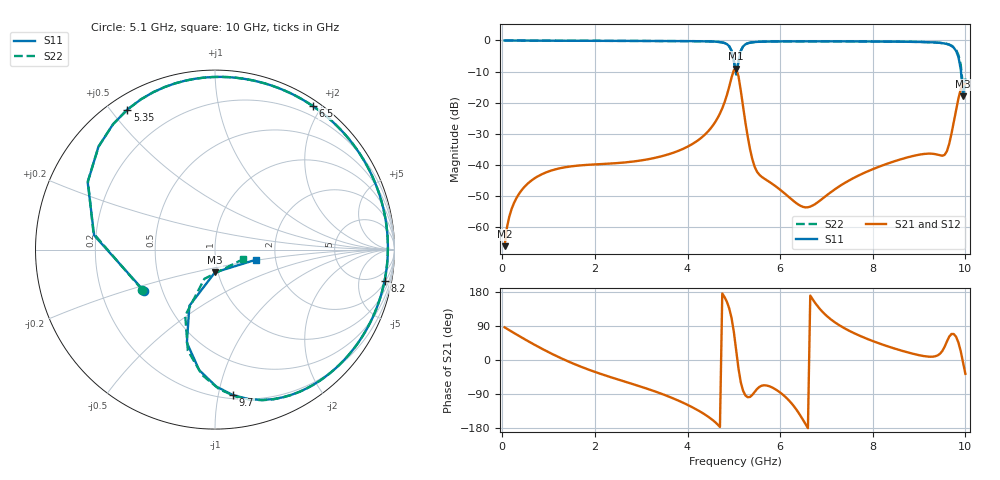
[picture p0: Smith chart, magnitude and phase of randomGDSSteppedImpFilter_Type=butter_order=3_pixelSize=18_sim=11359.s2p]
! freq	dB(S11)	phase(S11)	dB(S12)	phase(S12)
!  dB(S21)	phase(S21)	dB(S22)	phase(S22)
!S-par simulation data
#  GHz  S  DB  R 50
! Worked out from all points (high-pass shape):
!   200 points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, 50 MHz to 10 GHz, reference 50 ohm
!   highest |S21| = -9.05 dB at 5.05 GHz (marker M1); lowest = -66.2 dB at 50 MHz (marker M2)
!   |S21| within 3 dB of the highest: 4.949 GHz to 5.106 GHz (157 MHz wide, 3.12 % of centre)
!   lowest |S11| = -17.9 dB at 9.95 GHz (marker M3), VSWR 1.29, Z = 48.4 - j12.5 ohm
!   |S11| at or under -10 dB: 5.039527 GHz to 5.061064 GHz (21.54 MHz wide, 0.426 % of centre); 9.904 GHz to end of sweep
!   |S22| runs from -15.6 to 0.0 dB; largest |S21 - S12| = 0
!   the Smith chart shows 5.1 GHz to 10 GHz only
!   S11 on the Smith chart (normalised r, x): 5.1 GHz: 0.40, -0.23; 5.35 GHz: 0.05, +0.55; 6.5 GHz: 0.07, +1.89; 8.2 GHz: 2, -10; 9.7 GHz: 0.23, -1.11; 10 GHz: 1.57, -0.19
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0.05  -0.00 -3.7  -66.23 86.2  -66.23 86.2  -0.00 -3.7
0.2  -0.02 -14.7  -54.31 75.1  -54.31 75.1  -0.02 -14.7
0.5  -0.05 -36.3  -46.80 53.7  -46.80 53.7  -0.05 -36.4
1.75  -0.12 -115.1  -40.14 -20.2  -40.14 -20.2  -0.12 -115.1
3.4  -0.18 166.0  -37.44 -87.4  -37.44 -87.4  -0.18 166.0
4.25  -0.24 126.4  -31.89 -134.5  -31.89 -134.5  -0.24 126.4
4.75  -0.64 89.7  -21.85 175.4  -21.85 175.4  -0.65 89.6
4.95  -3.29 39.8  -11.98 111.1  -11.98 111.1  -3.34 39.3
5.05  -10.91 -69.2  -9.05 26.2  -9.05 26.2  -10.94 -72.4
5.1  -6.80 -149.5  -11.50 -22.3  -11.50 -22.3  -6.68 -151.2
5.2  -1.91 152.2  -21.42 -81.4  -21.42 -81.4  -1.89 151.7
5.35  -0.72 122.0  -35.03 -97.4  -35.03 -97.4  -0.71 121.9
5.55  -0.42 103.4  -43.22 -71.1  -43.22 -71.1  -0.42 103.4
6.5  -0.28 55.8  -53.61 -159.2  -53.61 -159.2  -0.28 55.8
6.7  -0.28 47.5  -53.14 160.6  -53.14 160.6  -0.28 47.4
8.2  -0.35 -10.4  -40.29 41.1  -40.29 41.1  -0.35 -10.4
8.35  -0.36 -16.0  -39.49 34.9  -39.49 34.9  -0.36 -16.0
9.55  -0.98 -68.9  -36.85 34.5  -36.85 34.5  -0.95 -68.5
9.7  -1.75 -82.9  -29.96 68.7  -29.96 68.7  -1.65 -82.0
9.85  -5.33 -106.8  -18.65 45.9  -18.65 45.9  -4.70 -105.1
9.95  -17.94 -90.2  -13.98 -6.4  -13.98 -6.4  -15.22 -110.0
10  -12.64 -14.2  -13.98 -36.6  -13.98 -36.6  -15.56 -18.2
